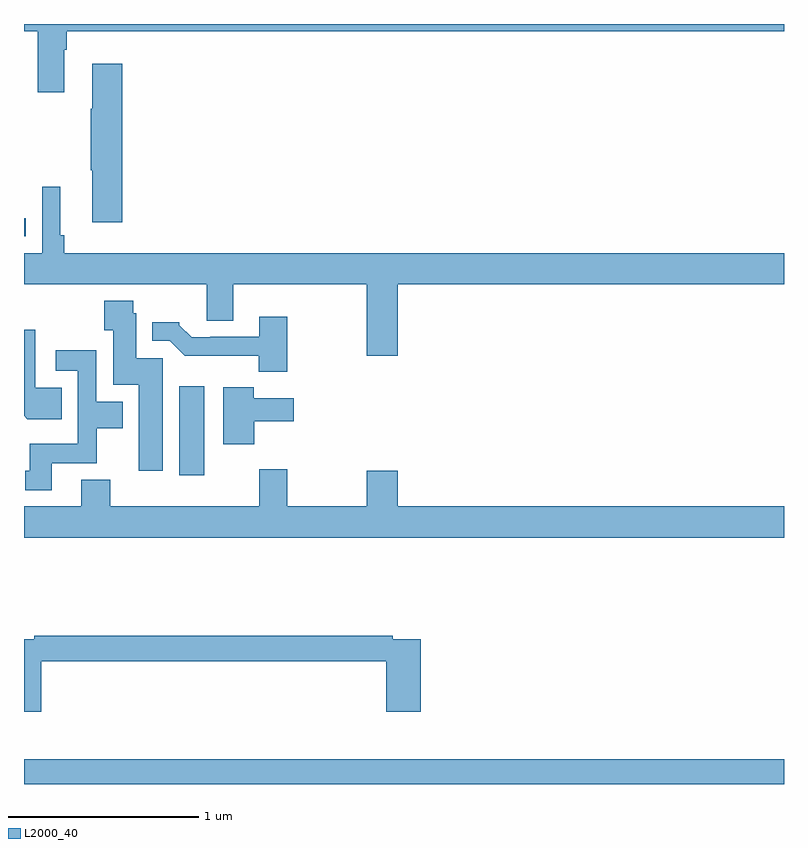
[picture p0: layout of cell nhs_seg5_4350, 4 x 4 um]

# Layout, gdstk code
import gdstk
lib = gdstk.Library(unit=1e-6, precision=1e-09)
def R(c, l, rs):  # rectangles x0, y0, x1, y1
    for r in rs: c.add(gdstk.rectangle(r[:2], r[2:], *l))
def P(c, l, *ps):  # polygons
    for p in ps: c.add(gdstk.Polygon(p, *l))
L2000_40 = (2000, 40)

nhs_seg5_4350 = lib.new_cell('nhs_seg5_4350')
R(nhs_seg5_4350, L2000_40, [(367,852.799,371,852.928), (367.817,854.424,367.948,854.893), (367,855.681,367.01,855.777)])
P(nhs_seg5_4350, L2000_40, [(367.213,856.664),(367.226,856.664),(367.226,856.76),(371,856.76),(371,856.799),(367,856.799),(367,856.76),(367.073,856.76),(367.073,856.44),(367.213,856.44)],
  [(367.517,856.591),(367.358,856.591),(367.358,856.352),(367.351,856.352),(367.351,856.03),(367.358,856.03),(367.358,855.756),(367.517,855.756)],
  [(367.192,855.688),(367.192,855.943),(367.095,855.943),(367.095,855.592),(367,855.592),(367,855.428),(367.961,855.428),(367.961,855.238),(368.101,855.238),(368.101,855.428),(368.804,855.428),(368.804,855.054),(368.968,855.054),(368.968,855.428),(371,855.428),(371,855.592),(367.211,855.592),(367.211,855.688)],
  [(367.729,855.039),(367.591,855.039),(367.591,855.276),(367.575,855.276),(367.575,855.343),(367.423,855.343),(367.423,855.187),(367.469,855.187),(367.469,854.9),(367.604,854.9),(367.604,854.448),(367.729,854.448)],
  [(368.385,855.259),(368.237,855.259),(368.237,855.153),(367.981,855.153),(367.981,855.15),(367.882,855.15),(367.818,855.214),(367.818,855.229),(367.676,855.229),(367.676,855.132),(367.767,855.132),(367.846,855.054),(368.235,855.054),(368.235,854.969),(368.385,854.969)],
  [(367.199,854.884),(367.06,854.884),(367.06,855.19),(367,855.19),(367,854.736),(367.016,854.72),(367.199,854.72)],
  [(367.147,854.486),(367.383,854.486),(367.383,854.672),(367.519,854.672),(367.519,854.812),(367.38,854.812),(367.38,855.082),(367.167,855.082),(367.167,854.973),(367.284,854.973),(367.284,854.59),(367.031,854.59),(367.031,854.448),(367.007,854.448),(367.007,854.346),(367.147,854.346)],
  [(368.212,854.708),(368.419,854.708),(368.419,854.83),(368.21,854.83),(368.21,854.887),(368.048,854.887),(368.048,854.586),(368.212,854.586)],
  [(371,854.26),(368.968,854.26),(368.968,854.449),(368.804,854.449),(368.804,854.26),(368.385,854.26),(368.385,854.455),(368.237,854.455),(368.237,854.26),(367.454,854.26),(367.454,854.401),(367.301,854.401),(367.301,854.26),(367,854.26),(367,854.096),(371,854.096)],
  [(367.091,853.444),(368.906,853.444),(368.906,853.179),(369.089,853.179),(369.089,853.56),(368.942,853.56),(368.942,853.58),(367.054,853.58),(367.054,853.56),(367,853.56),(367,853.179),(367.091,853.179)])

lib.write_gds('nhs_seg5_4350.gds')
